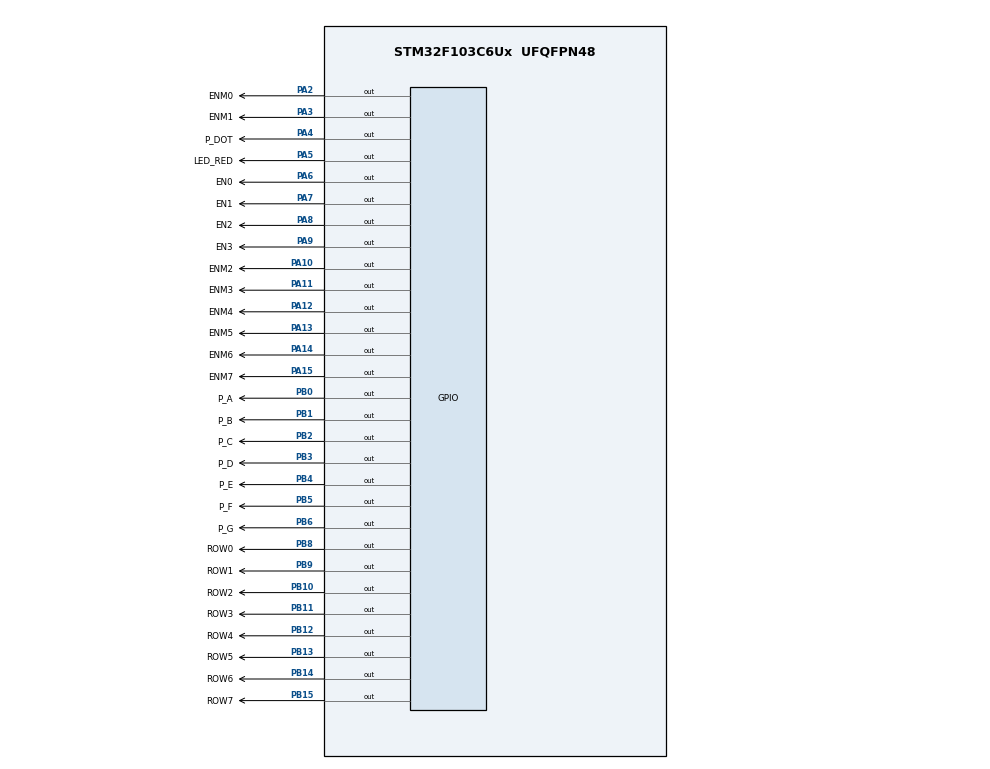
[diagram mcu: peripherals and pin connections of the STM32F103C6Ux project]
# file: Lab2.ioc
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Mcu.Family=STM32F1
Mcu.Name=STM32F103C6Ux
Mcu.Package=UFQFPN48
NVIC.PriorityGroup=NVIC_PRIORITYGROUP_4
NVIC.TIM2_IRQn=true\:0\:0\:false\:false\:true\:true\:true
PA10.GPIO_Label=ENM2
PA10.Signal=GPIO_Output
PA11.GPIO_Label=ENM3
PA11.Signal=GPIO_Output
PA12.GPIO_Label=ENM4
PA12.Signal=GPIO_Output
PA13.GPIO_Label=ENM5
PA13.Signal=GPIO_Output
PA14.GPIO_Label=ENM6
PA14.Signal=GPIO_Output
PA15.GPIO_Label=ENM7
PA15.Signal=GPIO_Output
PA2.GPIO_Label=ENM0
PA2.Signal=GPIO_Output
PA3.GPIO_Label=ENM1
PA3.Signal=GPIO_Output
PA4.GPIO_Label=P_DOT
PA4.Signal=GPIO_Output
PA5.GPIO_Label=LED_RED
PA5.Signal=GPIO_Output
PA6.GPIO_Label=EN0
PA6.Signal=GPIO_Output
PA7.GPIO_Label=EN1
PA7.Signal=GPIO_Output
PA8.GPIO_Label=EN2
PA8.Signal=GPIO_Output
PA9.GPIO_Label=EN3
PA9.Signal=GPIO_Output
PB0.GPIO_Label=P_A
PB0.Signal=GPIO_Output
PB1.GPIO_Label=P_B
PB1.Signal=GPIO_Output
PB10.GPIO_Label=ROW2
PB10.Signal=GPIO_Output
PB11.GPIO_Label=ROW3
PB11.Signal=GPIO_Output
PB12.GPIO_Label=ROW4
PB12.Signal=GPIO_Output
PB13.GPIO_Label=ROW5
PB13.Signal=GPIO_Output
PB14.GPIO_Label=ROW6
PB14.Signal=GPIO_Output
PB15.GPIO_Label=ROW7
PB15.Signal=GPIO_Output
PB2.GPIO_Label=P_C
PB2.Signal=GPIO_Output
PB3.GPIO_Label=P_D
PB3.Signal=GPIO_Output
PB4.GPIO_Label=P_E
PB4.Signal=GPIO_Output
PB5.GPIO_Label=P_F
PB5.Signal=GPIO_Output
PB6.GPIO_Label=P_G
PB6.Signal=GPIO_Output
PB8.GPIO_Label=ROW0
PB8.Signal=GPIO_Output
PB9.GPIO_Label=ROW1
PB9.Signal=GPIO_Output
ProjectManager.HeapSize=0x200
ProjectManager.StackSize=0x400
ProjectManager.TargetToolchain=STM32CubeIDE
RCC.APB1Freq_Value=8000000
RCC.APB2Freq_Value=8000000
TIM2.Period=9
TIM2.Prescaler=7999
VP_SYS_VS_ND.Mode=No_Debug
VP_TIM2_VS_ClockSourceINT.Mode=Internal
board=custom

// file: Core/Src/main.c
/* USER CODE BEGIN Header */
/**
  ******************************************************************************
  * @file           : main.c
  * @brief          : Main program body
  ******************************************************************************
  * @attention
  *
  * <h2><center>&copy; Copyright (c) 2023 STMicroelectronics.
  * All rights reserved.</center></h2>
  *
  * This software component is licensed by ST under BSD 3-Clause license,
  * the "License"; You may not use this file except in compliance with the
  * License. You may obtain a copy of the License at:
  *                        opensource.org/licenses/BSD-3-Clause
  *
  ******************************************************************************
  */
/* USER CODE END Header */
#include "main.h"

/* USER CODE BEGIN Includes */
#include "software_timer.h"
/* USER CODE END Includes */

TIM_HandleTypeDef htim2;

void SystemClock_Config(void);
static void MX_GPIO_Init(void);
static void MX_TIM2_Init(void);

int main(void)
{

  /* MCU Configuration--------------------------------------------------------*/

  /* Reset of all peripherals, Initializes the Flash interface and the Systick. */
  HAL_Init();

  /* Configure the system clock */
  SystemClock_Config();

  /* Initialize all configured peripherals */
  MX_GPIO_Init();
  MX_TIM2_Init();
  /* USER CODE BEGIN 2 */
HAL_TIM_Base_Start_IT(&htim2);
  /* USER CODE END 2 */

  /* Infinite loop */
  /* USER CODE BEGIN WHILE */
/////////////////////////////////////////////////
  void OnP_A(){
	  HAL_GPIO_WritePin (P_A_GPIO_Port, P_A_Pin, GPIO_PIN_RESET);
  }
  void OnP_B(){
	  HAL_GPIO_WritePin (P_B_GPIO_Port, P_B_Pin, GPIO_PIN_RESET);
  }
  void OnP_C(){
	  HAL_GPIO_WritePin (P_C_GPIO_Port, P_C_Pin, GPIO_PIN_RESET);
  }
  void OnP_D(){
	  HAL_GPIO_WritePin (P_D_GPIO_Port, P_D_Pin, GPIO_PIN_RESET);
  }
  void OnP_E(){
	  HAL_GPIO_WritePin (P_E_GPIO_Port, P_E_Pin, GPIO_PIN_RESET);
  }
  void OnP_F(){
	  HAL_GPIO_WritePin (P_F_GPIO_Port, P_F_Pin, GPIO_PIN_RESET);
  }
  void OnP_G(){
	  HAL_GPIO_WritePin (P_G_GPIO_Port, P_G_Pin, GPIO_PIN_RESET);
  }

/////////////////////////////////////////////////
  void OffP_A(){
	  HAL_GPIO_WritePin (P_A_GPIO_Port, P_A_Pin, GPIO_PIN_SET);
  }
  void OffP_B(){
	  HAL_GPIO_WritePin (P_B_GPIO_Port, P_B_Pin, GPIO_PIN_SET);
  }
  void OffP_C(){
	  HAL_GPIO_WritePin (P_C_GPIO_Port, P_C_Pin, GPIO_PIN_SET);
  }
  void OffP_D(){
	  HAL_GPIO_WritePin (P_D_GPIO_Port, P_D_Pin, GPIO_PIN_SET);
  }
  void OffP_E(){
	  HAL_GPIO_WritePin (P_E_GPIO_Port, P_E_Pin, GPIO_PIN_SET);
  }
  void OffP_F(){
	  HAL_GPIO_WritePin (P_F_GPIO_Port, P_F_Pin, GPIO_PIN_SET);
  }
  void OffP_G(){
	  HAL_GPIO_WritePin (P_G_GPIO_Port, P_G_Pin, GPIO_PIN_SET);
  }

/////////////////////////////////////////////////
  void display7SEG(int num){
	  switch (num) {
	      case 0:
	    	  OnP_A();
	    	  OnP_B();
	    	  OnP_C();
	    	  OnP_D();
	    	  OnP_E();
	    	  OnP_F();
	    	  OffP_G();
	          break;
	      case 1:
	    	  OffP_A();
	    	  OnP_B();
	    	  OnP_C();
	    	  OffP_D();
	    	  OffP_E();
	    	  OffP_F();
	    	  OffP_G();
	          break;
	      case 2:
	    	  OnP_A();
	    	  OnP_B();
	    	  OffP_C();
	    	  OnP_D();
	    	  OnP_E();
	    	  OffP_F();
	    	  OnP_G();
	          break;
	      case 3:
	    	  OnP_A();
	    	  OnP_B();
	    	  OnP_C();
	    	  OnP_D();
	    	  OffP_E();
	    	  OffP_F();
	    	  OnP_G();
	          break;
	      case 4:
	    	  OffP_A();
	    	  OnP_B();
	    	  OnP_C();
	    	  OffP_D();
	    	  OffP_E();
	    	  OnP_F();
	    	  OnP_G();
	          break;
	      case 5:
	    	  OnP_A();
	    	  OffP_B();
	    	  OnP_C();
	    	  OnP_D();
	    	  OffP_E();
	    	  OnP_F();
	    	  OnP_G();
	          break;
	      case 6:
	    	  OnP_A();
	    	  OffP_B();
	    	  OnP_C();
	    	  OnP_D();
	    	  OnP_E();
	    	  OnP_F();
	    	  OnP_G();
	          break;
	      case 7:
	    	  OnP_A();
	    	  OnP_B();
	    	  OnP_C();
	    	  OffP_D();
	    	  OffP_E();
	    	  OffP_F();
	    	  OffP_G();
	          break;
	      case 8:
	    	  OnP_A();
	    	  OnP_B();
	    	  OnP_C();
	    	  OnP_D();
	    	  OnP_E();
	    	  OnP_F();
	    	  OnP_G();
	          break;
	      case 9:
	    	  OnP_A();
	    	  OnP_B();
	    	  OnP_C();
	    	  OnP_D();
	    	  OffP_E();
	    	  OnP_F();
	    	  OnP_G();
	          break;
	      default:
	    	  OnP_A();
	    	  OnP_B();
	    	  OnP_C();
	    	  OnP_D();
	    	  OnP_E();
	    	  OnP_F();
	    	  OffP_G();
	    	  break;
	  }

  }
  ///////////////////////////////////////////
  void OnEN(int i){
	  switch(i){
	  	  case 0:
	  		  HAL_GPIO_WritePin (EN0_GPIO_Port, EN0_Pin, GPIO_PIN_RESET);
	  		  break;
	  	  case 1:
	  		  HAL_GPIO_WritePin (EN1_GPIO_Port, EN1_Pin, GPIO_PIN_RESET);
	  		  break;
	  	  case 2:
	  		  HAL_GPIO_WritePin (EN2_GPIO_Port, EN2_Pin, GPIO_PIN_RESET);
	  		  break;
	  	  case 3:
	  		  HAL_GPIO_WritePin (EN3_GPIO_Port, EN3_Pin, GPIO_PIN_RESET);
	  		  break;
	  	  default:
	  		  HAL_GPIO_WritePin (EN0_GPIO_Port, EN0_Pin, GPIO_PIN_RESET);
	  		  break;
	  }
  }
  void OffEN(int i){
	  switch(i){
	  	  case 0:
	  		  HAL_GPIO_WritePin (EN0_GPIO_Port, EN0_Pin, GPIO_PIN_SET);
	  		  break;
	  	  case 1:
	  		  HAL_GPIO_WritePin (EN1_GPIO_Port, EN1_Pin, GPIO_PIN_SET);
	  		  break;
	  	  case 2:
	  		  HAL_GPIO_WritePin (EN2_GPIO_Port, EN2_Pin, GPIO_PIN_SET);
	  		  break;
	  	  case 3:
	  		  HAL_GPIO_WritePin (EN3_GPIO_Port, EN3_Pin, GPIO_PIN_SET);
	  		  break;
	  	  default:
	  		  HAL_GPIO_WritePin (EN0_GPIO_Port, EN0_Pin, GPIO_PIN_SET);
	  		  break;
	  }
  }
  ///////////////////////////////////////////
  void TurnOffAll7LEDs(){
	  OffEN(0);
	  OffEN(1);
	  OffEN(2);
	  OffEN(3);
  }
  ///////////////////////////////////////////
	void ToggleLedRed(){
		HAL_GPIO_TogglePin(LED_RED_GPIO_Port, LED_RED_Pin);
	}
	void ToggleP_DOT(){
		HAL_GPIO_TogglePin(P_DOT_GPIO_Port, P_DOT_Pin);
	}
///////////////////////////////////////////
	//const int MAX_LED = 4;
	int index_led = 1;
	int led_buffer[4] = {1, 2, 3, 4};
	void update7SEG(int index){
	    switch (index){
	        case 0:
	            //Display the first 7SEG with led_buffer[0]
	        	TurnOffAll7LEDs();
	        	display7SEG(led_buffer[0]);
	            break;
	        case 1:
	            //Display the second 7SEG with led_buffer[1]
	        	TurnOffAll7LEDs();
	        	display7SEG(led_buffer[1]);
	            break;
	        case 2:
	            //Display the third 7SEG with led_buffer[2]
	        	TurnOffAll7LEDs();
	        	display7SEG(led_buffer[2]);
	            break;
	        case 3:
	            //Display the forth 7SEG with led_buffer[3]
	        	TurnOffAll7LEDs();
	        	display7SEG(led_buffer[3]);
	            break;
	        default:
	        	TurnOffAll7LEDs();
	        	display7SEG(led_buffer[0]);
	            break;
	    }
    	OnEN(index);
	}

///////////////////////////////////////////
	/////////////////////////////////////////////////
	  void On_ENM(int i){
		  switch(i){
		  case 0:
			  HAL_GPIO_WritePin (ENM0_GPIO_Port, ENM0_Pin, GPIO_PIN_RESET);
			  break;
		  case 1:
			  HAL_GPIO_WritePin (ENM1_GPIO_Port, ENM1_Pin, GPIO_PIN_RESET);
			  break;
		  case 2:
			  HAL_GPIO_WritePin (ENM2_GPIO_Port, ENM2_Pin, GPIO_PIN_RESET);
			  break;
		  case 3:
			  HAL_GPIO_WritePin (ENM3_GPIO_Port, ENM3_Pin, GPIO_PIN_RESET);
			  break;
		  case 4:
			  HAL_GPIO_WritePin (ENM4_GPIO_Port, ENM4_Pin, GPIO_PIN_RESET);
			  break;
		  case 5:
			  HAL_GPIO_WritePin (ENM5_GPIO_Port, ENM5_Pin, GPIO_PIN_RESET);
			  break;
		  case 6:
			  HAL_GPIO_WritePin (ENM6_GPIO_Port, ENM6_Pin, GPIO_PIN_RESET);
			  break;
		  case 7:
			  HAL_GPIO_WritePin (ENM7_GPIO_Port, ENM7_Pin, GPIO_PIN_RESET);
			  break;
		  default:
			  HAL_GPIO_WritePin (ENM0_GPIO_Port, ENM0_Pin, GPIO_PIN_RESET);
			  break;
		  }
	  }
	/////////////////////////////////////////////////
	  void Off_ENM(int i){
		  switch(i){
		  case 0:
			  HAL_GPIO_WritePin (ENM0_GPIO_Port, ENM0_Pin, GPIO_PIN_SET);
			  break;
		  case 1:
			  HAL_GPIO_WritePin (ENM1_GPIO_Port, ENM1_Pin, GPIO_PIN_SET);
			  break;
		  case 2:
			  HAL_GPIO_WritePin (ENM2_GPIO_Port, ENM2_Pin, GPIO_PIN_SET);
			  break;
		  case 3:
			  HAL_GPIO_WritePin (ENM3_GPIO_Port, ENM3_Pin, GPIO_PIN_SET);
			  break;
		  case 4:
			  HAL_GPIO_WritePin (ENM4_GPIO_Port, ENM4_Pin, GPIO_PIN_SET);
			  break;
		  case 5:
			  HAL_GPIO_WritePin (ENM5_GPIO_Port, ENM5_Pin, GPIO_PIN_SET);
			  break;
		  case 6:
			  HAL_GPIO_WritePin (ENM6_GPIO_Port, ENM6_Pin, GPIO_PIN_SET);
			  break;
		  case 7:
			  HAL_GPIO_WritePin (ENM7_GPIO_Port, ENM7_Pin, GPIO_PIN_SET);
			  break;
		  default:
			  HAL_GPIO_WritePin (ENM0_GPIO_Port, ENM0_Pin, GPIO_PIN_SET);
			  break;
		  }
	  }
	/////////////////////////////////////////////////
	  void On_ROW(int i){
		  switch(i){
		  case 0:
			  HAL_GPIO_WritePin (ROW0_GPIO_Port, ROW0_Pin, GPIO_PIN_RESET);
			  break;
		  case 1:
			  HAL_GPIO_WritePin (ROW1_GPIO_Port, ROW1_Pin, GPIO_PIN_RESET);
			  break;
		  case 2:
			  HAL_GPIO_WritePin (ROW2_GPIO_Port, ROW2_Pin, GPIO_PIN_RESET);
			  break;
		  case 3:
			  HAL_GPIO_WritePin (ROW3_GPIO_Port, ROW3_Pin, GPIO_PIN_RESET);
			  break;
		  case 4:
			  HAL_GPIO_WritePin (ROW4_GPIO_Port, ROW4_Pin, GPIO_PIN_RESET);
			  break;
		  case 5:
			  HAL_GPIO_WritePin (ROW5_GPIO_Port, ROW5_Pin, GPIO_PIN_RESET);
			  break;
		  case 6:
			  HAL_GPIO_WritePin (ROW6_GPIO_Port, ROW6_Pin, GPIO_PIN_RESET);
			  break;
		  case 7:
			  HAL_GPIO_WritePin (ROW7_GPIO_Port, ROW7_Pin, GPIO_PIN_RESET);
			  break;
		  default:
			  HAL_GPIO_WritePin (ROW0_GPIO_Port, ROW0_Pin, GPIO_PIN_RESET);
			  break;
		  }
	  }
	/////////////////////////////////////////////////
	  void Off_ROW(int i){
		  switch(i){
		  case 0:
			  HAL_GPIO_WritePin (ROW0_GPIO_Port, ROW0_Pin, GPIO_PIN_SET);
			  break;
		  case 1:
			  HAL_GPIO_WritePin (ROW1_GPIO_Port, ROW1_Pin, GPIO_PIN_SET);
			  break;
		  case 2:
			  HAL_GPIO_WritePin (ROW2_GPIO_Port, ROW2_Pin, GPIO_PIN_SET);
			  break;
		  case 3:
			  HAL_GPIO_WritePin (ROW3_GPIO_Port, ROW3_Pin, GPIO_PIN_SET);
			  break;
		  case 4:
			  HAL_GPIO_WritePin (ROW4_GPIO_Port, ROW4_Pin, GPIO_PIN_SET);
			  break;
		  case 5:
			  HAL_GPIO_WritePin (ROW5_GPIO_Port, ROW5_Pin, GPIO_PIN_SET);
			  break;
		  case 6:
			  HAL_GPIO_WritePin (ROW6_GPIO_Port, ROW6_Pin, GPIO_PIN_SET);
			  break;
		  case 7:
			  HAL_GPIO_WritePin (ROW7_GPIO_Port, ROW7_Pin, GPIO_PIN_SET);
			  break;
		  default:
			  HAL_GPIO_WritePin (ROW0_GPIO_Port, ROW0_Pin, GPIO_PIN_SET);
			  break;
		  }
	  }
	void OnALL_ROW(){
		for(int i=0;i<8;i++){
			On_ROW(i);
		}
	}
	void OffALL_ROW(){
		for(int i=0;i<8;i++){
			Off_ROW(i);
		}
	}
	void OnALL_ENM(){
		for(int i=0;i<8;i++){
			On_ENM(i);
		}
	}
	void OffALL_ENM(){
		for(int i=0;i<8;i++){
			Off_ENM(i);
		}
	}
	////////////////////////////////////////////////////////////
	uint8_t matrix_buffer[8] = {0x3C,0x42,0x42,0x7E,0x42,0x42,0x42,0x42};
	void updateArr(uint8_t Arr1[],uint8_t Arr2[]){
		for(int i=0;i<8;i++){
			Arr1[i]=Arr2[i];
		}
	}
	void updateLEDMatrix(int index) {
		OnALL_ROW();
		OnALL_ENM();
		Off_ENM(index);
		for(int i = 0; i < 8; i++) {
			if(matrix_buffer[index] & (0x80 >> i)) {
				Off_ROW(i);
			}
		}
	}
	uint8_t shiftRight(uint8_t a) {
	  return (a >> 1) | ((a & 1) << 7);
	}
	uint8_t shiftLeft(uint8_t a) {
	  return (a << 1) | ((a & 0x80) >> 7);
	}
	void shiftLeft_matrix_buffer(){
		for(int i=0;i<8;i++){
			matrix_buffer[i]=shiftLeft(matrix_buffer[i]);
		}
	}
	void shiftRight_matrix_buffer(){
		for(int i=0;i<8;i++){
			matrix_buffer[i]=shiftRight(matrix_buffer[i]);
		}
	}
	int isLeftshift=1;
	void switchShiftDirection(){
		  switch(isLeftshift){
		  case 0:
			  isLeftshift=1;
			  break;
		  case 1:
			  isLeftshift=0;
			  break;
		  default:
			  isLeftshift=1;
			  break;
		  }
	}
///////////////////////////////////////////

	int hour = 15, minute = 8, second = 50;
	void updateClockBuffer(){
		led_buffer[0]=hour/10;
		led_buffer[1]=hour%10;
		led_buffer[2]=minute/10;
		led_buffer[3]=minute%10;
	};

///////////////////////////////////////////
	const int c1_number = 100; // Led Red and Dot Toggle Time
	const int c2_number = 25;   // 7SEGLEDS period
	const int c3_number = 100; // duration of 1s (100=default)
	const int c4_number = 10; // Matrix timer
	setTimer1(c1_number);
	setTimer2(c2_number);
	setTimer3(c3_number);
	setTimer4(c4_number);
	TurnOffAll7LEDs();
	update7SEG(0);
	updateClockBuffer();
	int i_matrix=0;
	updateLEDMatrix(i_matrix);
	int numberOfcycles=0;
  while (1)
  {
	  if(timer1_flag==1){
		  ToggleLedRed();
		  ToggleP_DOT();
		  setTimer1(c1_number);
	  }
	  if(timer2_flag==1){
		  if(index_led>3){
			  index_led=0;
		  }
		  update7SEG(index_led++);
		  setTimer2(c2_number);
	  }
	  if(timer3_flag==1){
		    second++;
		    if (second >= 60){
		        second = 0;
		        minute++;
		    }
		    if(minute >= 60){
		        minute = 0;
		        hour++;
		    }
		    if(hour >=24){
		        hour = 0;
		    }
		  updateClockBuffer();
		  setTimer3(c3_number);
	  }
	  if(timer4_flag==1){
		  updateLEDMatrix(i_matrix);
		  i_matrix++;
		  if(i_matrix>7){
			  i_matrix=0;
			  numberOfcycles++;
			  if(numberOfcycles>8){
				  numberOfcycles=1;
				  switchShiftDirection();
			  }
			  switch(isLeftshift){
			  			  case 0:
			  				  shiftRight_matrix_buffer();
			  				  break;
			  			  case 1:
			  				  shiftLeft_matrix_buffer();
			  				  break;

			  			  default:
			  				  shiftLeft_matrix_buffer();
			  				  break;
			  			  }
		  }
		  setTimer4(c4_number);
	  }
    /* USER CODE END WHILE */

  }
}

void SystemClock_Config(void)
{
  RCC_OscInitTypeDef RCC_OscInitStruct = {0};
  RCC_ClkInitTypeDef RCC_ClkInitStruct = {0};

  /** Initializes the RCC Oscillators according to the specified parameters
  * in the RCC_OscInitTypeDef structure.
  */
  RCC_OscInitStruct.OscillatorType = RCC_OSCILLATORTYPE_HSI;
  RCC_OscInitStruct.HSIState = RCC_HSI_ON;
  RCC_OscInitStruct.HSICalibrationValue = RCC_HSICALIBRATION_DEFAULT;
  RCC_OscInitStruct.PLL.PLLState = RCC_PLL_NONE;
  if (HAL_RCC_OscConfig(&RCC_OscInitStruct) != HAL_OK)
  {
    Error_Handler();
  }
  /** Initializes the CPU, AHB and APB buses clocks
  */
  RCC_ClkInitStruct.ClockType = RCC_CLOCKTYPE_HCLK|RCC_CLOCKTYPE_SYSCLK
                              |RCC_CLOCKTYPE_PCLK1|RCC_CLOCKTYPE_PCLK2;
  RCC_ClkInitStruct.SYSCLKSource = RCC_SYSCLKSOURCE_HSI;
  RCC_ClkInitStruct.AHBCLKDivider = RCC_SYSCLK_DIV1;
  RCC_ClkInitStruct.APB1CLKDivider = RCC_HCLK_DIV1;
  RCC_ClkInitStruct.APB2CLKDivider = RCC_HCLK_DIV1;

  if (HAL_RCC_ClockConfig(&RCC_ClkInitStruct, FLASH_LATENCY_0) != HAL_OK)
  {
    Error_Handler();
  }
}

static void MX_TIM2_Init(void)
{

  TIM_ClockConfigTypeDef sClockSourceConfig = {0};
  TIM_MasterConfigTypeDef sMasterConfig = {0};

  htim2.Instance = TIM2;
  htim2.Init.Prescaler = 7999;
  htim2.Init.CounterMode = TIM_COUNTERMODE_UP;
  htim2.Init.Period = 9;
  htim2.Init.ClockDivision = TIM_CLOCKDIVISION_DIV1;
  htim2.Init.AutoReloadPreload = TIM_AUTORELOAD_PRELOAD_DISABLE;
  if (HAL_TIM_Base_Init(&htim2) != HAL_OK)
  {
    Error_Handler();
  }
  sClockSourceConfig.ClockSource = TIM_CLOCKSOURCE_INTERNAL;
  if (HAL_TIM_ConfigClockSource(&htim2, &sClockSourceConfig) != HAL_OK)
  {
    Error_Handler();
  }
  sMasterConfig.MasterOutputTrigger = TIM_TRGO_RESET;
  sMasterConfig.MasterSlaveMode = TIM_MASTERSLAVEMODE_DISABLE;
  if (HAL_TIMEx_MasterConfigSynchronization(&htim2, &sMasterConfig) != HAL_OK)
  {
    Error_Handler();
  }

}

static void MX_GPIO_Init(void)
{
  GPIO_InitTypeDef GPIO_InitStruct = {0};

  /* GPIO Ports Clock Enable */
  __HAL_RCC_GPIOA_CLK_ENABLE();
  __HAL_RCC_GPIOB_CLK_ENABLE();

  /*Configure GPIO pin Output Level */
  HAL_GPIO_WritePin(GPIOA, ENM0_Pin|ENM1_Pin|P_DOT_Pin|LED_RED_Pin
                          |EN0_Pin|EN1_Pin|EN2_Pin|EN3_Pin
                          |ENM2_Pin|ENM3_Pin|ENM4_Pin|ENM5_Pin
                          |ENM6_Pin|ENM7_Pin, GPIO_PIN_RESET);

  /*Configure GPIO pin Output Level */
  HAL_GPIO_WritePin(GPIOB, P_A_Pin|P_B_Pin|P_C_Pin|ROW2_Pin
                          |ROW3_Pin|ROW4_Pin|ROW5_Pin|ROW6_Pin
                          |ROW7_Pin|P_D_Pin|P_E_Pin|P_F_Pin
                          |P_G_Pin|ROW0_Pin|ROW1_Pin, GPIO_PIN_RESET);

  /*Configure GPIO pins : ENM0_Pin ENM1_Pin P_DOT_Pin LED_RED_Pin
                           EN0_Pin EN1_Pin EN2_Pin EN3_Pin
                           ENM2_Pin ENM3_Pin ENM4_Pin ENM5_Pin
                           ENM6_Pin ENM7_Pin */
  GPIO_InitStruct.Pin = ENM0_Pin|ENM1_Pin|P_DOT_Pin|LED_RED_Pin
                          |EN0_Pin|EN1_Pin|EN2_Pin|EN3_Pin
                          |ENM2_Pin|ENM3_Pin|ENM4_Pin|ENM5_Pin
                          |ENM6_Pin|ENM7_Pin;
  GPIO_InitStruct.Mode = GPIO_MODE_OUTPUT_PP;
  GPIO_InitStruct.Pull = GPIO_NOPULL;
  GPIO_InitStruct.Speed = GPIO_SPEED_FREQ_LOW;
  HAL_GPIO_Init(GPIOA, &GPIO_InitStruct);

  /*Configure GPIO pins : P_A_Pin P_B_Pin P_C_Pin ROW2_Pin
                           ROW3_Pin ROW4_Pin ROW5_Pin ROW6_Pin
                           ROW7_Pin P_D_Pin P_E_Pin P_F_Pin
                           P_G_Pin ROW0_Pin ROW1_Pin */
  GPIO_InitStruct.Pin = P_A_Pin|P_B_Pin|P_C_Pin|ROW2_Pin
                          |ROW3_Pin|ROW4_Pin|ROW5_Pin|ROW6_Pin
                          |ROW7_Pin|P_D_Pin|P_E_Pin|P_F_Pin
                          |P_G_Pin|ROW0_Pin|ROW1_Pin;
  GPIO_InitStruct.Mode = GPIO_MODE_OUTPUT_PP;
  GPIO_InitStruct.Pull = GPIO_NOPULL;
  GPIO_InitStruct.Speed = GPIO_SPEED_FREQ_LOW;
  HAL_GPIO_Init(GPIOB, &GPIO_InitStruct);

}

/* USER CODE BEGIN 4 */
void HAL_TIM_PeriodElapsedCallback(TIM_HandleTypeDef *htim){
	timerRun();
}
/* USER CODE END 4 */

void Error_Handler(void)
{
  __disable_irq();
  while (1)
  {
  }
}

/************************ (C) COPYRIGHT STMicroelectronics *****END OF FILE****/
